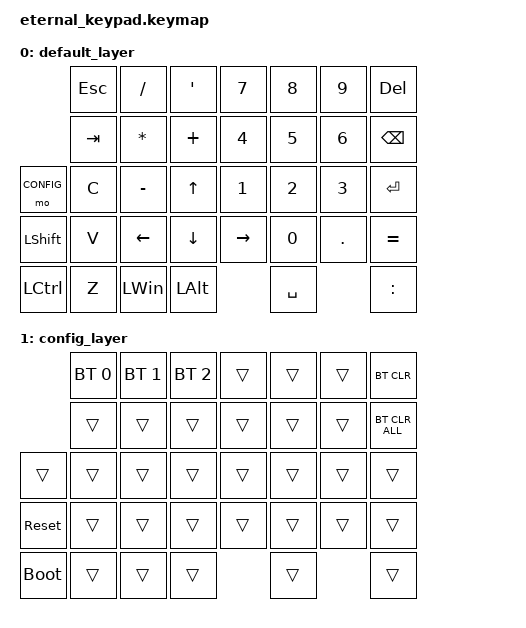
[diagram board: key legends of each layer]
/*
 * Copyright (c) 2022 The ZMK Contributors
 *
 * SPDX-License-Identifier: MIT
 */

#include <behaviors.dtsi>
#include <dt-bindings/zmk/keys.h>
#include <dt-bindings/zmk/bt.h>
#include <dt-bindings/zmk/outputs.h>

#define BASE        0
#define CONFIG      1

/ {
  chosen {
      zmk,kscan = &kscan0;
      zmk,matrix-transform = &default_transform;
  };

  keymap {
    compatible = "zmk,keymap";

    default_layer {
      bindings = <
                          &kp ESC     &kp FSLH  &kp APOS &kp N7    &kp N8     &kp N9     &kp DEL
                          &kp TAB     &kp ASTRK &kp PLUS &kp N4    &kp N5     &kp N6     &kp BSPC
        &mo CONFIG        &kp C       &kp MINUS &kp UP   &kp N1    &kp N2     &kp N3     &kp ENTER
        &kp LSHIFT        &kp V       &kp LEFT  &kp DOWN &kp RIGHT &kp N0     &kp DOT    &kp EQUAL
        &kp LCTRL         &kp Z       &kp LWIN  &kp LALT           &kp SPACE             &kp COLON
      >;
    };

    config_layer {
      bindings = <
                      &bt BT_SEL 0   &bt BT_SEL 1   &bt BT_SEL 2 &trans    &trans    &trans     &bt BT_CLR
                      &trans         &trans         &trans       &trans    &trans    &trans     &bt BT_CLR_ALL
        &trans        &trans         &trans         &trans       &trans    &trans    &trans     &trans
        &sys_reset    &trans         &trans         &trans       &trans    &trans    &trans     &trans
        &bootloader   &trans         &trans         &trans               &trans                 &trans
      >;
    };
  };
};
